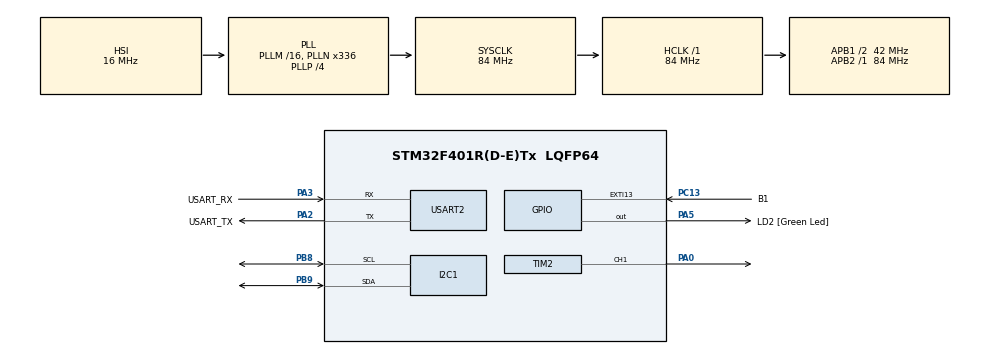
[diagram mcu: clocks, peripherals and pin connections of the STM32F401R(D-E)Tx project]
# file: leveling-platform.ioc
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Mcu.Family=STM32F4
Mcu.Name=STM32F401R(D-E)Tx
Mcu.Package=LQFP64
NVIC.EXTI15_10_IRQn=true\:0\:0\:false\:false\:true\:true\:true\:true
NVIC.PriorityGroup=NVIC_PRIORITYGROUP_0
PA0-WKUP.Signal=S_TIM2_CH1_ETR
PA13.GPIO_Label=TMS
PA13.Mode=Serial_Wire
PA13.Signal=SYS_JTMS-SWDIO
PA14.GPIO_Label=TCK
PA14.Mode=Serial_Wire
PA14.Signal=SYS_JTCK-SWCLK
PA2.GPIO_Label=USART_TX
PA2.GPIO_Mode=GPIO_MODE_AF_PP
PA2.GPIO_PuPd=GPIO_NOPULL
PA2.GPIO_Speed=GPIO_SPEED_FREQ_LOW
PA2.Mode=Asynchronous
PA2.Signal=USART2_TX
PA3.GPIO_Label=USART_RX
PA3.GPIO_Mode=GPIO_MODE_AF_PP
PA3.GPIO_PuPd=GPIO_NOPULL
PA3.GPIO_Speed=GPIO_SPEED_FREQ_LOW
PA3.Mode=Asynchronous
PA3.Signal=USART2_RX
PA5.GPIO_Label=LD2 [Green Led]
PA5.GPIO_Mode=GPIO_MODE_OUTPUT_PP
PA5.GPIO_PuPd=GPIO_NOPULL
PA5.GPIO_Speed=GPIO_SPEED_FREQ_LOW
PA5.Signal=GPIO_Output
PB3.GPIO_Label=SWO
PB3.Signal=SYS_JTDO-SWO
PB8.Mode=I2C
PB8.Signal=I2C1_SCL
PB9.Mode=I2C
PB9.Signal=I2C1_SDA
PC13-ANTI_TAMP.GPIO_Label=B1
PC13-ANTI_TAMP.GPIO_ModeDefaultEXTI=GPIO_MODE_IT_FALLING
PC13-ANTI_TAMP.GPIO_PuPd=GPIO_NOPULL
PC13-ANTI_TAMP.Signal=GPXTI13
PC14-OSC32_IN.Signal=RCC_OSC32_IN
PC15-OSC32_OUT.Signal=RCC_OSC32_OUT
PH0\ -\ OSC_IN.Signal=RCC_OSC_IN
PH1\ -\ OSC_OUT.Signal=RCC_OSC_OUT
ProjectManager.HeapSize=0x200
ProjectManager.StackSize=0x400
ProjectManager.TargetToolchain=CMake
RCC.AHBFreq_Value=84000000
RCC.APB1CLKDivider=RCC_HCLK_DIV2
RCC.APB1Freq_Value=42000000
RCC.APB1TimFreq_Value=84000000
RCC.APB2Freq_Value=84000000
RCC.APB2TimFreq_Value=84000000
RCC.CortexFreq_Value=84000000
RCC.HCLKFreq_Value=84000000
RCC.HSE_VALUE=8000000
RCC.HSI_VALUE=16000000
RCC.LSE_VALUE=32768
RCC.PLLN=336
RCC.PLLP=RCC_PLLP_DIV4
RCC.PLLQ=7
RCC.SYSCLKFreq_VALUE=84000000
RCC.SYSCLKSource=RCC_SYSCLKSOURCE_PLLCLK
RCC.VCOOutputFreq_Value=336000000
SH.S_TIM2_CH1_ETR.0=TIM2_CH1,PWM Generation1 CH1
TIM2.Channel-PWM\ Generation1\ CH1=TIM_CHANNEL_1
TIM2.Period=19999
TIM2.Prescaler=83
TIM2.Pulse-PWM\ Generation1\ CH1=1500
USART2.VirtualMode=VM_ASYNC
VP_TIM2_VS_ClockSourceINT.Mode=Internal
board=NUCLEO-F401RE

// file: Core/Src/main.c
/* USER CODE BEGIN Header */
/**
  ******************************************************************************
  * @file           : main.c
  * @brief          : Main program body
  ******************************************************************************
  * @attention
  *
  * Copyright (c) 2026 STMicroelectronics.
  * All rights reserved.
  *
  * This software is licensed under terms that can be found in the LICENSE file
  * in the root directory of this software component.
  * If no LICENSE file comes with this software, it is provided AS-IS.
  *
  ******************************************************************************
  */
/* USER CODE END Header */
#include "main.h"

/* USER CODE BEGIN Includes */
#include <stdint.h>
#include <stdbool.h>
#include "serial.h"
#include "servo.h"
#include "imu.h"
/* USER CODE END Includes */

I2C_HandleTypeDef hi2c1;

TIM_HandleTypeDef htim2;

UART_HandleTypeDef huart2;

void SystemClock_Config(void);
static void MX_GPIO_Init(void);
static void MX_USART2_UART_Init(void);
static void MX_TIM2_Init(void);
static void MX_I2C1_Init(void);

int main(void)
{

  /* MCU Configuration--------------------------------------------------------*/

  /* Reset of all peripherals, Initializes the Flash interface and the Systick. */
  HAL_Init();

  /* Configure the system clock */
  SystemClock_Config();

  /* Initialize all configured peripherals */
  MX_GPIO_Init();
  MX_USART2_UART_Init();
  MX_TIM2_Init();
  MX_I2C1_Init();
  /* USER CODE BEGIN 2 */
  serial_init();
  if (!imu_init()) {
    serial_printf("Error initializing IMU\r\n");
    while(1);
  }

  /* USER CODE END 2 */

  /* Infinite loop */
  while (1)
  {

    /* USER CODE BEGIN 3 */
    HAL_Delay(200);

    imu_reading_g_t reading;
    if (imu_get_reading(&reading) == false) {
      serial_printf("Error getting reading\r\n");
      continue;
    }

    float angle = imu_get_angle(&reading);

    serial_printf("X = %f g, Y = %f g, Z = %f g, angle = %f\r\n", reading.x, reading.y, reading.z, angle);
  }
  /* USER CODE END 3 */
}

void SystemClock_Config(void)
{
  RCC_OscInitTypeDef RCC_OscInitStruct = {0};
  RCC_ClkInitTypeDef RCC_ClkInitStruct = {0};

  /** Configure the main internal regulator output voltage
  */
  __HAL_RCC_PWR_CLK_ENABLE();
  __HAL_PWR_VOLTAGESCALING_CONFIG(PWR_REGULATOR_VOLTAGE_SCALE2);

  /** Initializes the RCC Oscillators according to the specified parameters
  * in the RCC_OscInitTypeDef structure.
  */
  RCC_OscInitStruct.OscillatorType = RCC_OSCILLATORTYPE_HSI;
  RCC_OscInitStruct.HSIState = RCC_HSI_ON;
  RCC_OscInitStruct.HSICalibrationValue = RCC_HSICALIBRATION_DEFAULT;
  RCC_OscInitStruct.PLL.PLLState = RCC_PLL_ON;
  RCC_OscInitStruct.PLL.PLLSource = RCC_PLLSOURCE_HSI;
  RCC_OscInitStruct.PLL.PLLM = 16;
  RCC_OscInitStruct.PLL.PLLN = 336;
  RCC_OscInitStruct.PLL.PLLP = RCC_PLLP_DIV4;
  RCC_OscInitStruct.PLL.PLLQ = 7;
  if (HAL_RCC_OscConfig(&RCC_OscInitStruct) != HAL_OK)
  {
    Error_Handler();
  }

  /** Initializes the CPU, AHB and APB buses clocks
  */
  RCC_ClkInitStruct.ClockType = RCC_CLOCKTYPE_HCLK|RCC_CLOCKTYPE_SYSCLK
                              |RCC_CLOCKTYPE_PCLK1|RCC_CLOCKTYPE_PCLK2;
  RCC_ClkInitStruct.SYSCLKSource = RCC_SYSCLKSOURCE_PLLCLK;
  RCC_ClkInitStruct.AHBCLKDivider = RCC_SYSCLK_DIV1;
  RCC_ClkInitStruct.APB1CLKDivider = RCC_HCLK_DIV2;
  RCC_ClkInitStruct.APB2CLKDivider = RCC_HCLK_DIV1;

  if (HAL_RCC_ClockConfig(&RCC_ClkInitStruct, FLASH_LATENCY_2) != HAL_OK)
  {
    Error_Handler();
  }
}

static void MX_I2C1_Init(void)
{

  hi2c1.Instance = I2C1;
  hi2c1.Init.ClockSpeed = 100000;
  hi2c1.Init.DutyCycle = I2C_DUTYCYCLE_2;
  hi2c1.Init.OwnAddress1 = 0;
  hi2c1.Init.AddressingMode = I2C_ADDRESSINGMODE_7BIT;
  hi2c1.Init.DualAddressMode = I2C_DUALADDRESS_DISABLE;
  hi2c1.Init.OwnAddress2 = 0;
  hi2c1.Init.GeneralCallMode = I2C_GENERALCALL_DISABLE;
  hi2c1.Init.NoStretchMode = I2C_NOSTRETCH_DISABLE;
  if (HAL_I2C_Init(&hi2c1) != HAL_OK)
  {
    Error_Handler();
  }

}

static void MX_TIM2_Init(void)
{

  TIM_ClockConfigTypeDef sClockSourceConfig = {0};
  TIM_MasterConfigTypeDef sMasterConfig = {0};
  TIM_OC_InitTypeDef sConfigOC = {0};

  htim2.Instance = TIM2;
  htim2.Init.Prescaler = 83;
  htim2.Init.CounterMode = TIM_COUNTERMODE_UP;
  htim2.Init.Period = 19999;
  htim2.Init.ClockDivision = TIM_CLOCKDIVISION_DIV1;
  htim2.Init.AutoReloadPreload = TIM_AUTORELOAD_PRELOAD_DISABLE;
  if (HAL_TIM_Base_Init(&htim2) != HAL_OK)
  {
    Error_Handler();
  }
  sClockSourceConfig.ClockSource = TIM_CLOCKSOURCE_INTERNAL;
  if (HAL_TIM_ConfigClockSource(&htim2, &sClockSourceConfig) != HAL_OK)
  {
    Error_Handler();
  }
  if (HAL_TIM_PWM_Init(&htim2) != HAL_OK)
  {
    Error_Handler();
  }
  sMasterConfig.MasterOutputTrigger = TIM_TRGO_RESET;
  sMasterConfig.MasterSlaveMode = TIM_MASTERSLAVEMODE_DISABLE;
  if (HAL_TIMEx_MasterConfigSynchronization(&htim2, &sMasterConfig) != HAL_OK)
  {
    Error_Handler();
  }
  sConfigOC.OCMode = TIM_OCMODE_PWM1;
  sConfigOC.Pulse = 1500;
  sConfigOC.OCPolarity = TIM_OCPOLARITY_HIGH;
  sConfigOC.OCFastMode = TIM_OCFAST_DISABLE;
  if (HAL_TIM_PWM_ConfigChannel(&htim2, &sConfigOC, TIM_CHANNEL_1) != HAL_OK)
  {
    Error_Handler();
  }
  HAL_TIM_MspPostInit(&htim2);

}

static void MX_USART2_UART_Init(void)
{

  huart2.Instance = USART2;
  huart2.Init.BaudRate = 115200;
  huart2.Init.WordLength = UART_WORDLENGTH_8B;
  huart2.Init.StopBits = UART_STOPBITS_1;
  huart2.Init.Parity = UART_PARITY_NONE;
  huart2.Init.Mode = UART_MODE_TX_RX;
  huart2.Init.HwFlowCtl = UART_HWCONTROL_NONE;
  huart2.Init.OverSampling = UART_OVERSAMPLING_16;
  if (HAL_UART_Init(&huart2) != HAL_OK)
  {
    Error_Handler();
  }

}

static void MX_GPIO_Init(void)
{
  GPIO_InitTypeDef GPIO_InitStruct = {0};

  /* GPIO Ports Clock Enable */
  __HAL_RCC_GPIOC_CLK_ENABLE();
  __HAL_RCC_GPIOH_CLK_ENABLE();
  __HAL_RCC_GPIOA_CLK_ENABLE();
  __HAL_RCC_GPIOB_CLK_ENABLE();

  /*Configure GPIO pin Output Level */
  HAL_GPIO_WritePin(LD2_GPIO_Port, LD2_Pin, GPIO_PIN_RESET);

  /*Configure GPIO pin : B1_Pin */
  GPIO_InitStruct.Pin = B1_Pin;
  GPIO_InitStruct.Mode = GPIO_MODE_IT_FALLING;
  GPIO_InitStruct.Pull = GPIO_NOPULL;
  HAL_GPIO_Init(B1_GPIO_Port, &GPIO_InitStruct);

  /*Configure GPIO pin : LD2_Pin */
  GPIO_InitStruct.Pin = LD2_Pin;
  GPIO_InitStruct.Mode = GPIO_MODE_OUTPUT_PP;
  GPIO_InitStruct.Pull = GPIO_NOPULL;
  GPIO_InitStruct.Speed = GPIO_SPEED_FREQ_LOW;
  HAL_GPIO_Init(LD2_GPIO_Port, &GPIO_InitStruct);

  /* EXTI interrupt init*/
  HAL_NVIC_SetPriority(EXTI15_10_IRQn, 0, 0);
  HAL_NVIC_EnableIRQ(EXTI15_10_IRQn);

}

void Error_Handler(void)
{
  __disable_irq();
  while (1)
  {
  }
}
